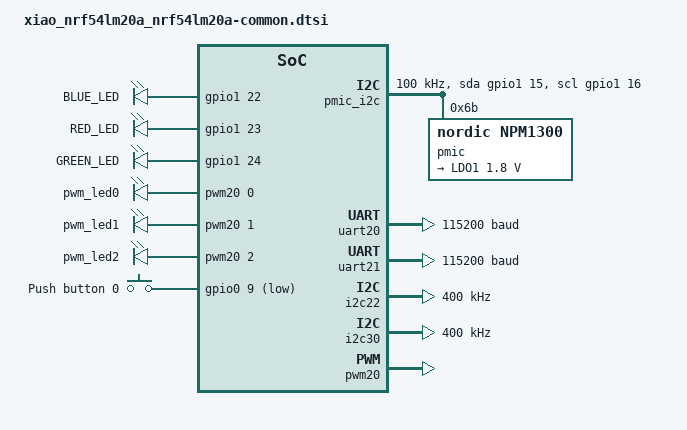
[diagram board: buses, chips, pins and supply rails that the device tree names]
/*
 * Copyright (c) 2025 Seeed Technology Co., Ltd.
 *
 * SPDX-License-Identifier: Apache-2.0
 */

#include "xiao_nrf54lm20a_nrf54lm20a-pinctrl.dtsi"

/ {
	leds {
		compatible = "gpio-leds";

		blue_led: blue_led {
			gpios = <&gpio1 22 GPIO_ACTIVE_HIGH>;
			label = "BLUE_LED";
		};

		red_led: red_led {
			gpios = <&gpio1 23 GPIO_ACTIVE_HIGH>;
			label = "RED_LED";
		};

		green_led: green_led {
			gpios = <&gpio1 24 GPIO_ACTIVE_HIGH>;
			label = "GREEN_LED";
		};
	};

	pwmleds {
		compatible = "pwm-leds";

		pwm_led0: pwm_led_0 {
			pwms = <&pwm20 0 PWM_MSEC(20) PWM_POLARITY_NORMAL>;
		};

		pwm_led1: pwm_led_1 {
			pwms = <&pwm20 1 PWM_MSEC(20) PWM_POLARITY_NORMAL>;
		};

		pwm_led2: pwm_led_2 {
			pwms = <&pwm20 2 PWM_MSEC(20) PWM_POLARITY_NORMAL>;
		};
	};

	buttons {
		compatible = "gpio-keys";

		button0: button_0 {
			gpios = <&gpio0 9 (GPIO_PULL_UP | GPIO_ACTIVE_LOW)>;
			label = "Push button 0";
			zephyr,code = <INPUT_KEY_0>;
		};
	};

	pmic_i2c: pmic-i2c {
		compatible = "gpio-i2c";
		#address-cells = <1>;
		#size-cells = <0>;
		sda-gpios = <&gpio1 15 GPIO_ACTIVE_HIGH>;
		scl-gpios = <&gpio1 16 GPIO_ACTIVE_HIGH>;
		clock-frequency = <100000>;
		status = "okay";

		pmic: npm1300@6b {
			compatible = "nordic,npm1300";
			reg = <0x6b>;

			pmic_charger: charger {
				compatible = "nordic,npm1300-charger";
				term-microvolt = <4150000>;
				term-warm-microvolt = <4000000>;
				current-microamp = <150000>;
				dischg-limit-microamp = <1000000>;
				vbus-limit-microamp = <500000>;
				thermistor-ohms = <10000>;
				thermistor-beta = <3380>;
				charging-enable;
			};

			regulators {
				compatible = "nordic,npm1300-regulator";

				LDO1 {
					regulator-min-microvolt = <1800000>;
					regulator-max-microvolt = <1800000>;
					regulator-boot-on;
				};
			};
		};
	};

	aliases {
		led0 = &blue_led;
		led1 = &red_led;
		led2 = &green_led;
		pwm-led0 = &pwm_led0;
		pwm-led1 = &pwm_led1;
		pwm-led2 = &pwm_led2;
		sw0 = &button0;
		watchdog0 = &wdt31;
		dmic20 = &pdm20;
	};
};

&uart20 {
	current-speed = <115200>;
	pinctrl-0 = <&uart20_default>;
	pinctrl-1 = <&uart20_sleep>;
	pinctrl-names = "default", "sleep";
};

&uart21 {
	current-speed = <115200>;
	pinctrl-0 = <&uart21_default>;
	pinctrl-1 = <&uart21_sleep>;
	pinctrl-names = "default", "sleep";
};

&i2c22 {
	pinctrl-0 = <&i2c22_default>;
	pinctrl-1 = <&i2c22_sleep>;
	pinctrl-names = "default", "sleep";
	clock-frequency = <400000>;
};

&i2c30 {
	pinctrl-0 = <&i2c30_default>;
	pinctrl-1 = <&i2c30_sleep>;
	pinctrl-names = "default", "sleep";
	clock-frequency = <400000>;
};

&spi23 {
	pinctrl-0 = <&spi23_default>;
	pinctrl-1 = <&spi23_sleep>;
	pinctrl-names = "default", "sleep";
};

&pdm20 {
	pinctrl-0 = <&pdm20_default>;
	pinctrl-1 = <&pdm20_sleep>;
	pinctrl-names = "default", "sleep";
	clock-source = "PCLK32M";
};

&pwm20 {
	status = "okay";
	pinctrl-0 = <&pwm20_default>;
	pinctrl-1 = <&pwm20_sleep>;
	pinctrl-names = "default", "sleep";
};
